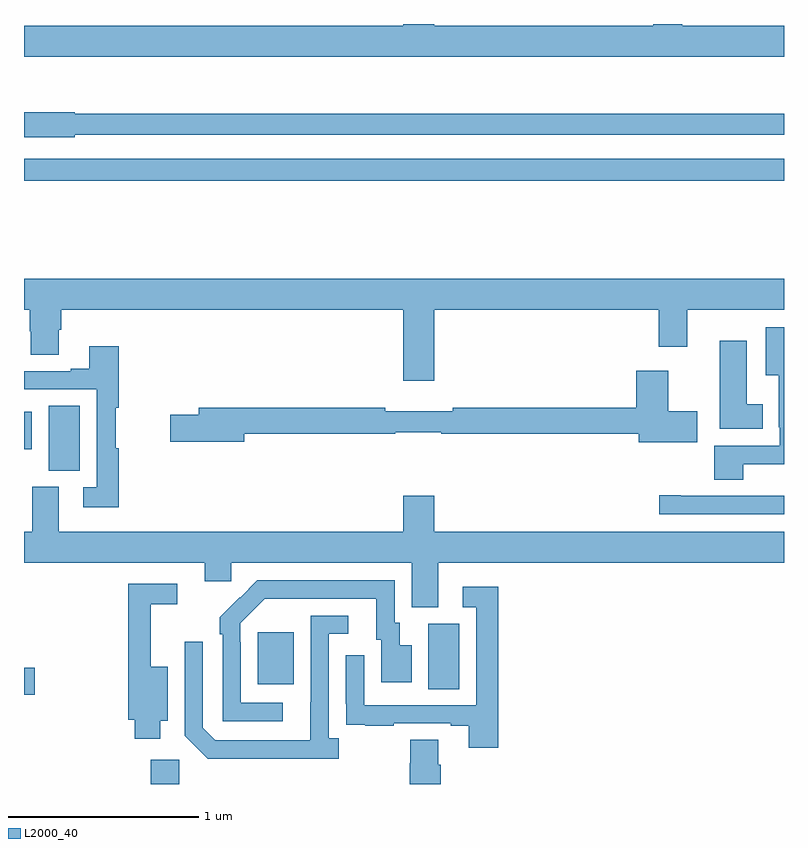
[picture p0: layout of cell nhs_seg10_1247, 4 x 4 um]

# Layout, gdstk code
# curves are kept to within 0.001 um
import gdstk
lib = gdstk.Library(unit=1e-6, precision=1e-09)
def R(c, l, rs):  # rectangles x0, y0, x1, y1
    for r in rs: c.add(gdstk.rectangle(r[:2], r[2:], *l))
def P(c, l, *ps):  # polygons
    for p in ps: c.add(gdstk.Polygon(p, *l))
L2000_40 = (2000, 40)

nhs_seg10_1247 = lib.new_cell('nhs_seg10_1247')
R(nhs_seg10_1247, L2000_40, [(175.667,1284.5,175.818,1284.628), (175,1284.97,175.057,1285.112), (177.128,1285,177.292,1285.344), (176.231,1285.025,176.419,1285.3), (175.13,1286.149,175.294,1286.492), (175,1286.261,175.042,1286.458), (175,1287.676,179,1287.792)])
P(nhs_seg10_1247, L2000_40, [(179,1288.492),(178.465,1288.492),(178.465,1288.5),(178.313,1288.5),(178.313,1288.492),(177.16,1288.492),(177.16,1288.5),(176.996,1288.5),(176.996,1288.492),(175,1288.492),(175,1288.328),(179,1288.328)],
  [(175.266,1287.918),(179,1287.918),(179,1288.027),(175.266,1288.027),(175.266,1288.035),(175,1288.035),(175,1287.905),(175.266,1287.905)],
  [(177.16,1286.996),(178.34,1286.996),(178.34,1286.802),(178.492,1286.802),(178.492,1286.996),(179,1286.996),(179,1287.16),(175,1287.16),(175,1286.996),(175.031,1286.996),(175.031,1286.883),(175.036,1286.883),(175.036,1286.758),(175.183,1286.758),(175.183,1286.89),(175.196,1286.89),(175.196,1286.996),(176.996,1286.996),(176.996,1286.622),(177.16,1286.622)],
  [(178.786,1286.184),(179,1286.184),(179,1286.905),(178.904,1286.905),(178.904,1286.651),(178.973,1286.651),(178.973,1286.377),(178.977,1286.377),(178.977,1286.28),(178.634,1286.28),(178.634,1286.101),(178.786,1286.101)],
  [(178.888,1286.5),(178.804,1286.5),(178.804,1286.833),(178.661,1286.833),(178.661,1286.369),(178.888,1286.369)],
  [(175.499,1286.268),(175.484,1286.268),(175.484,1286.48),(175.499,1286.48),(175.499,1286.803),(175.343,1286.803),(175.343,1286.686),(175.247,1286.686),(175.247,1286.673),(175,1286.673),(175,1286.577),(175.383,1286.577),(175.383,1286.061),(175.311,1286.061),(175.311,1285.956),(175.499,1285.956)],
  [(178.543,1286.463),(178.39,1286.463),(178.39,1286.674),(178.223,1286.674),(178.223,1286.48),(177.256,1286.48),(177.256,1286.461),(176.9,1286.461),(176.9,1286.48),(175.919,1286.48),(175.919,1286.444),(175.77,1286.444),(175.77,1286.302),(176.158,1286.302),(176.158,1286.344),(176.954,1286.344),(176.954,1286.352),(177.197,1286.352),(177.197,1286.344),(178.235,1286.344),(178.235,1286.3),(178.543,1286.3)],
  [(177.181,1285.664),(179,1285.664),(179,1285.828),(177.16,1285.828),(177.16,1286.017),(176.996,1286.017),(176.996,1285.828),(175.183,1285.828),(175.183,1286.064),(175.043,1286.064),(175.043,1285.828),(175,1285.828),(175,1285.664),(175.952,1285.664),(175.952,1285.566),(176.091,1285.566),(176.091,1285.664),(177.041,1285.664),(177.041,1285.429),(177.181,1285.429)],
  [(179,1286.016),(178.456,1286.016),(178.456,1286.021),(178.344,1286.021),(178.344,1285.92),(179,1285.92)],
  [(176.362,1284.927),(176.142,1284.927),(176.142,1285.247),(176.139,1285.247),(176.139,1285.347),(176.268,1285.476),(176.855,1285.476),(176.855,1285.26),(176.879,1285.26),(176.879,1285.035),(177.04,1285.035),(177.04,1285.231),(176.977,1285.231),(176.977,1285.35),(176.952,1285.35),(176.952,1285.572),(176.228,1285.572),(176.031,1285.377),(176.031,1285.289),(176.046,1285.289),(176.046,1284.831),(176.362,1284.831)],
  [(175.717,1284.833),(175.756,1284.833),(175.756,1285.117),(175.667,1285.117),(175.667,1285.446),(175.807,1285.446),(175.807,1285.554),(175.549,1285.554),(175.549,1284.837),(175.583,1284.837),(175.583,1284.737),(175.717,1284.737)],
  [(177.497,1285.537),(177.309,1285.537),(177.309,1285.431),(177.381,1285.431),(177.381,1284.915),(176.79,1284.915),(176.79,1285.177),(176.694,1285.177),(176.694,1284.922),(176.695,1284.922),(176.695,1284.813),(176.797,1284.813),(176.797,1284.807),(176.945,1284.807),(176.945,1284.819),(177.245,1284.819),(177.245,1284.807),(177.341,1284.807),(177.341,1284.69),(177.497,1284.69)],
  [(176.656,1284.742),(176.604,1284.742),(176.604,1285.29),(176.707,1285.29),(176.707,1285.386),(176.508,1285.386),(176.507,1284.729),(176.007,1284.729),(175.941,1284.795),(175.941,1285.249),(175.845,1285.249),(175.845,1284.753),(175.966,1284.632),(176.656,1284.632)],
  [(177.194,1284.602),(177.181,1284.602),(177.181,1284.734),(177.034,1284.734),(177.034,1284.609),(177.029,1284.609),(177.029,1284.5),(177.194,1284.5)])

lib.write_gds('nhs_seg10_1247.gds')
